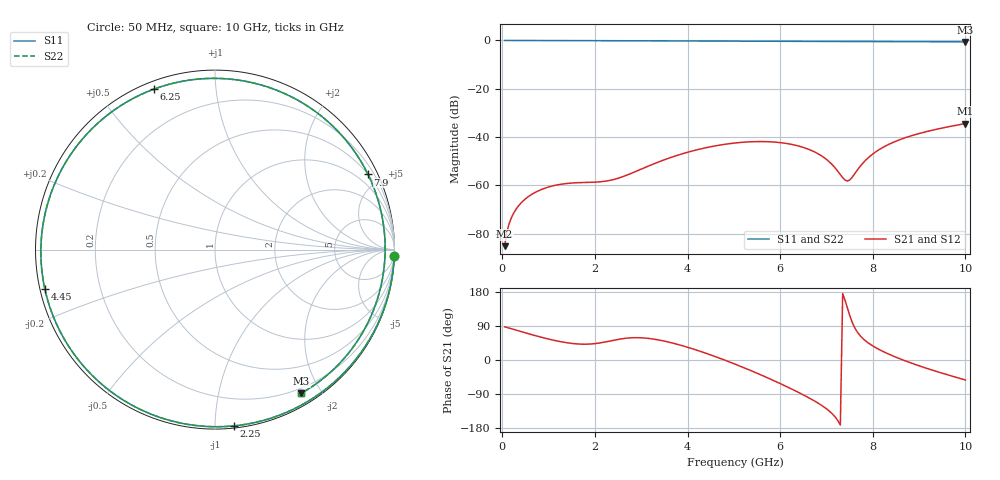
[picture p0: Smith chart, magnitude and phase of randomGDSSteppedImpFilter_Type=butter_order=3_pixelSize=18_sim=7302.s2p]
! freq	dB(S11)	phase(S11)	dB(S12)	phase(S12)
!  dB(S21)	phase(S21)	dB(S22)	phase(S22)
!S-par simulation data
#  GHz  S  DB  R 50
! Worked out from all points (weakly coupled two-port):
!   200 points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, 50 MHz to 10 GHz, reference 50 ohm
!   highest |S21| = -34.37 dB at 10 GHz (marker M1); lowest = -85.1 dB at 50 MHz (marker M2)
!   lowest |S11| = -0.6 dB at 10 GHz (marker M3), VSWR 29.02, Z = 7.07 - j87.9 ohm
!   |S11| at or under -10 dB: nowhere
!   |S22| runs from -0.6 to 0.0 dB; largest |S21 - S12| = 0
!   S11 on the Smith chart (normalised r, x): 50 MHz: 1, -59; 2.25 GHz: 0.01, -1.11; 4.45 GHz: 0.01, -0.11; 6.25 GHz: 0.03, +0.69; 7.9 GHz: 0.50, +4.25; 10 GHz: 0.14, -1.76
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0.05  -0.00 -1.9  -85.11 87.6  -85.11 87.6  -0.00 -1.9
0.1  -0.01 -3.8  -79.14 85.9  -79.14 85.9  -0.01 -3.8
0.2  -0.01 -7.6  -73.18 82.4  -73.18 82.4  -0.01 -7.6
0.3  -0.01 -11.4  -69.73 78.8  -69.73 78.8  -0.01 -11.4
0.6  -0.03 -22.7  -64.11 68.1  -64.11 68.1  -0.03 -22.7
1.1  -0.05 -41.4  -60.12 52.4  -60.12 52.4  -0.05 -41.4
1.75  -0.08 -65.5  -58.77 41.7  -58.77 41.7  -0.08 -65.5
2.25  -0.11 -83.8  -58.16 48.2  -58.16 48.2  -0.11 -83.8
2.8  -0.13 -104.0  -54.87 58.7  -54.87 58.7  -0.13 -104.0
3.4  -0.17 -126.2  -50.08 52.4  -50.08 52.4  -0.17 -126.2
3.95  -0.20 -147.2  -46.54 35.5  -46.54 35.5  -0.20 -147.2
4.45  -0.24 -167.1  -44.17 15.6  -44.17 15.6  -0.24 -167.1
5.05  -0.29 167.6  -42.37 -12.0  -42.37 -12.0  -0.29 167.6
5.65  -0.34 140.2  -41.84 -42.8  -41.84 -42.8  -0.34 140.2
6.25  -0.38 110.8  -43.01 -76.7  -43.01 -76.7  -0.38 110.7
6.7  -0.41 87.7  -45.73 -105.2  -45.73 -105.2  -0.41 87.6
7.05  -0.43 69.4  -50.04 -133.6  -50.04 -133.6  -0.43 69.3
7.45  -0.44 48.7  -58.15 138.4  -58.15 138.4  -0.44 48.6
7.9  -0.45 26.2  -48.57 45.2  -48.57 45.2  -0.45 26.1
8.35  -0.46 4.9  -42.94 15.2  -42.94 15.2  -0.46 4.8
9.05  -0.50 -24.9  -38.25 -17.4  -38.25 -17.4  -0.50 -24.9
10  -0.60 -59.0  -34.37 -52.6  -34.37 -52.6  -0.60 -59.1
